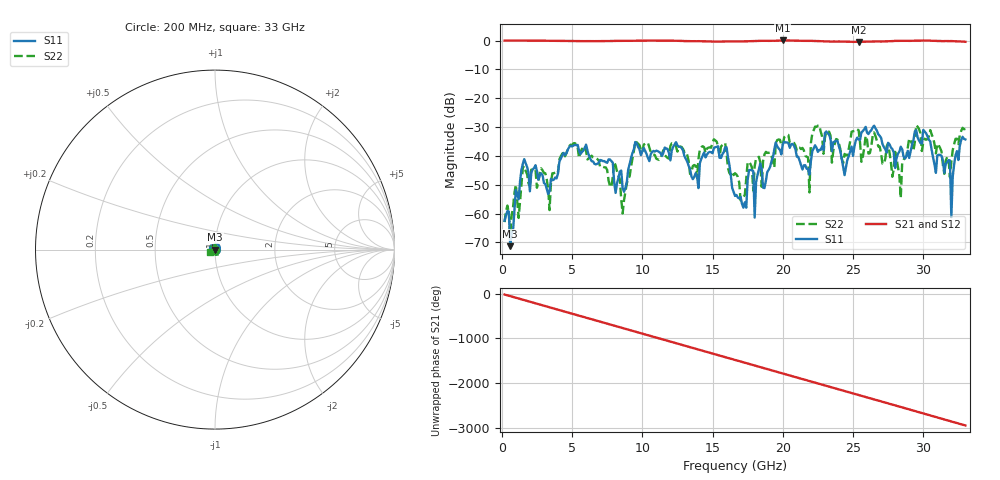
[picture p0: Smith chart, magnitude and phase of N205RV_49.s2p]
# GHZ S RI R 50
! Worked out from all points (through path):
!   329 points, 200 MHz to 33 GHz, reference 50 ohm
!   highest |S21| = 0.03 dB at 20 GHz (marker M1); lowest = -0.5 dB at 25.4 GHz (marker M2)
!   group delay of S21, straight-line fit = 248 ps
!   lowest |S11| = -71.3 dB at 600 MHz (marker M3), VSWR 1.00, Z = 50 + j0.0219 ohm
!   |S11| at or under -10 dB: start of sweep to end of sweep
!   |S22| runs from -67.6 to -29.3 dB; largest |S21 - S12| = 0.0019
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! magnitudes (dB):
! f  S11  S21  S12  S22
! 200 MHz  -62.4  0.0  0.0  -63.0
! 600 MHz  -71.3  0.0  0.0  -67.6
! 1.6 GHz  -41.1  0.0  0.0  -43.5
! 3.4 GHz  -52.2  -0.1  -0.1  -58.8
! 5.7 GHz  -38.7  -0.2  -0.2  -37.6
! 8.6 GHz  -51.1  -0.1  -0.1  -60.0
! 9.5 GHz  -35.2  -0.1  -0.1  -35.0
! 11.2 GHz  -38.6  0.0  0.0  -41.4
! 16 GHz  -37.0  -0.3  -0.3  -39.3
! 16.6 GHz  -53.9  -0.3  -0.3  -46.0
! 17.9 GHz  -45.3  -0.2  -0.2  -52.0
! 18 GHz  -61.4  -0.1  -0.1  -43.6
! 20 GHz  -35.9  0.0  0.0  -36.2
! 21.9 GHz  -46.5  -0.1  -0.1  -52.7
! 22.1 GHz  -38.4  -0.1  -0.1  -32.3
! 25.4 GHz  -34.4  -0.5  -0.5  -31.1
! 27.6 GHz  -36.0  -0.2  -0.2  -38.9
! 28.4 GHz  -36.8  -0.1  -0.1  -54.6
! 29.5 GHz  -31.1  -0.1  -0.1  -29.3
! 31.9 GHz  -41.6  -0.2  -0.2  -47.4
! 32 GHz  -61.2  -0.2  -0.2  -42.0
! 33 GHz  -34.3  -0.4  -0.4  -30.6
